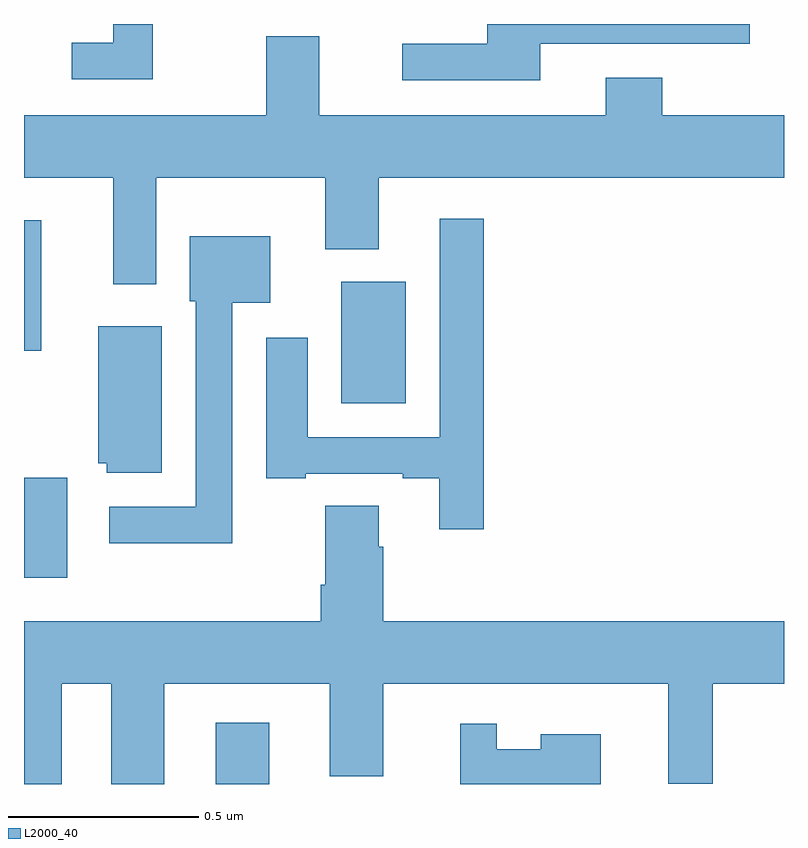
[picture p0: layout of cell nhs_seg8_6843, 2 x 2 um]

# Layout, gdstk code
import gdstk
lib = gdstk.Library(unit=1e-6, precision=1e-09)
def R(c, l, rs):  # rectangles x0, y0, x1, y1
    for r in rs: c.add(gdstk.rectangle(r[:2], r[2:], *l))
def P(c, l, *ps):  # polygons
    for p in ps: c.add(gdstk.Polygon(p, *l))
L2000_40 = (2000, 40)

nhs_seg8_6843 = lib.new_cell('nhs_seg8_6843')
R(nhs_seg8_6843, L2000_40, [(202.505,1118.9,202.645,1119.061), (202,1119.443,202.114,1119.706), (202.835,1119.902,203.005,1120.222), (202,1120.04,202.045,1120.384)])
P(nhs_seg8_6843, L2000_40, [(203.359,1120.848),(203.91,1120.848),(203.91,1120.9),(203.219,1120.9),(203.219,1120.848),(202.995,1120.848),(202.995,1120.752),(203.359,1120.752)],
  [(202.339,1120.9),(202.235,1120.9),(202.235,1120.851),(202.125,1120.851),(202.125,1120.755),(202.339,1120.755)],
  [(202.348,1120.496),(202.793,1120.496),(202.793,1120.307),(202.933,1120.307),(202.933,1120.496),(204,1120.496),(204,1120.66),(203.679,1120.66),(203.679,1120.759),(203.531,1120.759),(203.531,1120.66),(202.777,1120.66),(202.777,1120.868),(202.637,1120.868),(202.637,1120.66),(202,1120.66),(202,1120.496),(202.235,1120.496),(202.235,1120.215),(202.348,1120.215)],
  [(203.21,1120.387),(203.094,1120.387),(203.094,1119.813),(202.747,1119.813),(202.747,1120.075),(202.637,1120.075),(202.637,1119.705),(202.741,1119.705),(202.741,1119.717),(202.997,1119.717),(202.997,1119.705),(203.093,1119.705),(203.093,1119.57),(203.21,1119.57)],
  [(202.548,1120.166),(202.648,1120.166),(202.648,1120.342),(202.436,1120.342),(202.436,1120.17),(202.452,1120.17),(202.452,1119.63),(202.224,1119.63),(202.224,1119.533),(202.548,1119.533)],
  [(202.363,1120.105),(202.196,1120.105),(202.196,1119.744),(202.218,1119.744),(202.218,1119.719),(202.363,1119.719)],
  [(202.946,1119.524),(202.933,1119.524),(202.933,1119.632),(202.793,1119.632),(202.793,1119.424),(202.781,1119.424),(202.781,1119.328),(202,1119.328),(202,1118.9),(202.099,1118.9),(202.099,1119.164),(202.229,1119.164),(202.229,1118.9),(202.369,1118.9),(202.369,1119.164),(202.805,1119.164),(202.805,1118.921),(202.945,1118.921),(202.945,1119.164),(203.696,1119.164),(203.696,1118.901),(203.813,1118.901),(203.813,1119.164),(204,1119.164),(204,1119.328),(202.946,1119.328)],
  [(203.518,1119.031),(203.36,1119.031),(203.36,1118.992),(203.244,1118.992),(203.244,1119.058),(203.148,1119.058),(203.148,1118.9),(203.518,1118.9)])

lib.write_gds('nhs_seg8_6843.gds')
